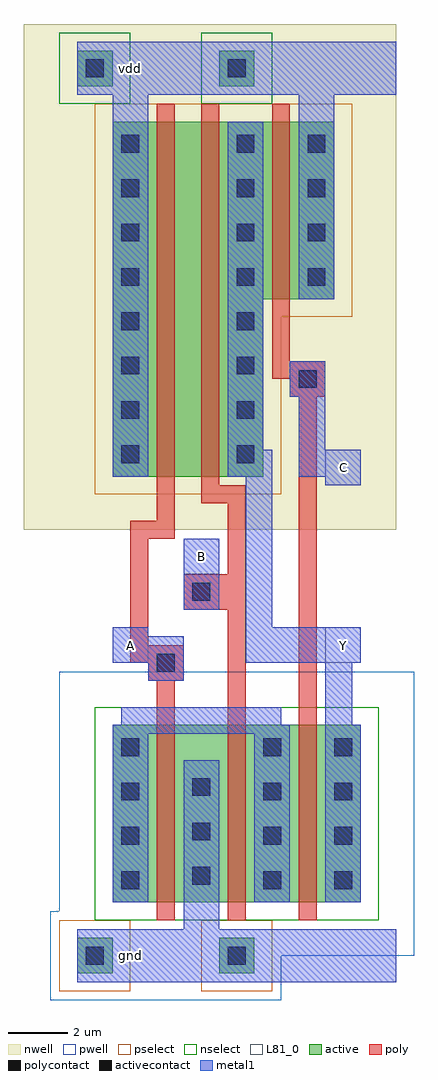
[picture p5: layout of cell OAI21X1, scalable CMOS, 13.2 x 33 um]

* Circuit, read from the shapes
.subckt OAI21X1 A B C Y gnd vdd
M1 gnd A n1 gnd nfet w=6u l=0.6u
M2 n1 B gnd gnd nfet w=6u l=0.6u
M3 Y C n1 gnd nfet w=6u l=0.6u
M4 n2 A vdd vdd pfet w=12u l=0.6u
M5 Y B n2 vdd pfet w=12u l=0.6u
M6 vdd C Y vdd pfet w=6u l=0.6u
.ends

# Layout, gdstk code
import gdstk
lib = gdstk.Library(unit=1e-6, precision=1e-09)
def R(c, l, rs):  # rectangles x0, y0, x1, y1
    for r in rs: c.add(gdstk.rectangle(r[:2], r[2:], *l))
def A(c, l, x, y, w, h, nx, ny, dx, dy):  # array of equal rectangles
    R(c, l, [(x+i*dx, y+j*dy, x+i*dx+w, y+j*dy+h) for i in range(nx) for j in range(ny)])
pwell = (41, 0)
nwell = (42, 0)
active = (43, 0)
pselect = (44, 0)
nselect = (45, 0)
poly = (46, 0)
polycontact = (47, 0)
activecontact = (48, 0)
metal1 = (49, 0)
L81_0 = (81, 0)

oai21x1 = lib.new_cell('OAI21X1')
R(oai21x1, pwell, [(-1.5,-1.5,6.3,0), (-1.5,0,10.8,1.5), (-1.2,1.5,10.8,9.6)])
R(oai21x1, nwell, [(-2.4,14.4,10.2,31.5)])
R(oai21x1, active, [(-0.6,-0.6,0.6,0.6), (4.2,-0.6,5.4,0.6), (0.6,1.8,9,7.8), (0.6,16.2,5.7,22.2), (0.6,22.2,8.1,28.2), (-0.6,29.4,0.6,30.6), (4.2,29.4,5.4,30.6)])
R(oai21x1, pselect, [(-1.2,-1.2,1.2,1.2), (3.6,-1.2,6,1.2), (0,15.6,6.3,21.6), (0,21.6,8.7,28.8)])
R(oai21x1, nselect, [(0,1.2,9.6,8.4), (-1.2,28.8,1.2,31.2), (3.6,28.8,6,31.2)])
R(oai21x1, poly, [(2.1,1.2,2.7,9.3), (4.5,1.2,5.1,11.7), (6.9,1.2,7.5,18.9), (1.8,9.3,3,9.9), (1.2,9.9,3,10.5), (1.2,10.5,1.8,14.1), (3,11.7,5.1,12.9), (4.5,12.9,5.1,15.3), (1.2,14.1,2.7,14.7), (2.1,14.7,2.7,28.8), (3.6,15.3,5.1,15.9), (3.6,15.9,4.2,28.8), (6.6,18.9,7.8,19.5), (6,19.5,7.8,20.1), (6,20.1,6.6,28.8)])
R(oai21x1, polycontact, [(2.1,9.6,2.7,10.2), (3.3,12,3.9,12.6), (6.9,19.2,7.5,19.8)])
A(oai21x1, activecontact, 0.9, 2.25, 0.6, 0.6, 1, 4, 0, 1.5)
A(oai21x1, activecontact, 5.7, 2.25, 0.6, 0.6, 1, 4, 0, 1.5)
A(oai21x1, activecontact, 8.1, 2.25, 0.6, 0.6, 1, 4, 0, 1.5)
A(oai21x1, activecontact, 3.3, 2.4, 0.6, 0.6, 1, 3, 0, 1.5)
A(oai21x1, activecontact, 0.9, 16.65, 0.6, 0.6, 1, 8, 0, 1.5)
A(oai21x1, activecontact, 4.8, 16.65, 0.6, 0.6, 1, 8, 0, 1.5)
A(oai21x1, activecontact, 7.2, 22.65, 0.6, 0.6, 1, 4, 0, 1.5)
R(oai21x1, activecontact, [(-0.3,-0.3,0.3,0.3), (4.5,-0.3,5.1,0.3), (-0.3,29.7,0.3,30.3), (4.5,29.7,5.1,30.3)])
R(oai21x1, metal1, [(-0.6,-0.9,10.2,0.9), (3,0.9,4.2,6.6), (0.6,1.8,1.8,7.5), (5.4,1.8,6.6,7.5), (7.8,1.8,9,7.8), (0.6,7.5,6.6,7.8), (0.9,7.8,6.3,8.4), (7.8,7.8,8.7,9.9), (1.8,9.3,3,9.9), (0.6,9.9,3,10.8), (5.1,9.9,9,11.1), (0.6,10.8,1.8,11.1), (5.1,11.1,6,16.2), (3,11.7,4.2,14.1), (7.8,15.9,9,16.2), (0.6,16.2,1.8,29.1), (4.5,16.2,6,17.1), (6.9,16.2,9,17.1), (4.5,17.1,5.7,28.2), (6.9,17.1,7.8,18.9), (6.6,18.9,7.8,20.1), (6.9,22.2,8.1,29.1), (-0.6,29.1,10.2,30.9)])
R(oai21x1, L81_0, [(0.6,9.9,1.8,11.1), (7.8,9.9,9,11.1), (3,12.9,4.2,14.1), (7.8,15.9,9,17.1)])
oai21x1.add(gdstk.Label('gnd', (1.2,0), layer=49, texttype=0))
oai21x1.add(gdstk.Label('vdd', (1.2,30), layer=49, texttype=0))
oai21x1.add(gdstk.Label('A', (1.2,10.5), layer=49, texttype=0))
oai21x1.add(gdstk.Label('B', (3.6,13.5), layer=49, texttype=0))
oai21x1.add(gdstk.Label('Y', (8.4,10.5), layer=49, texttype=0))
oai21x1.add(gdstk.Label('C', (8.4,16.5), layer=49, texttype=0))

lib.write_gds('OAI21X1.gds')
